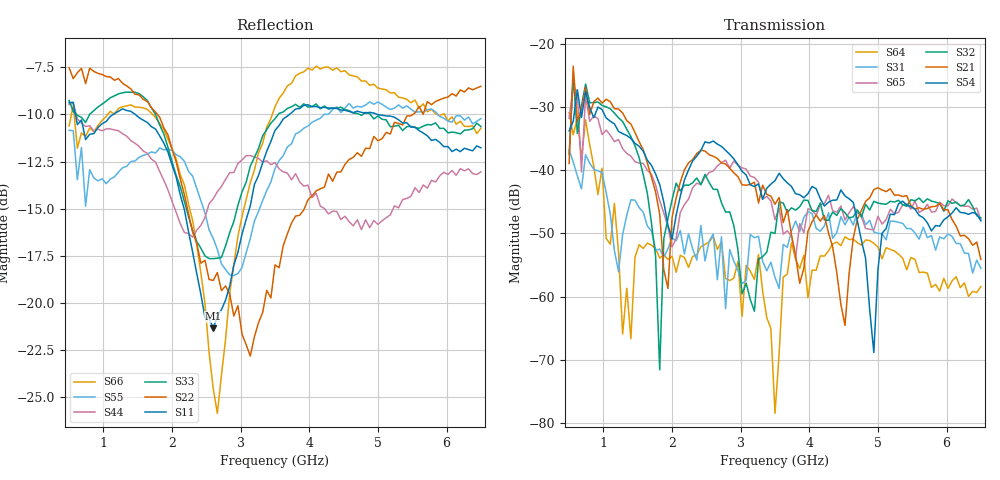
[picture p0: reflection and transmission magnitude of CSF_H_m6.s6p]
!Keysight Technologies,M9804A,MY58100912,A.14.10.03
!Date: Thursday, April 27, 2023 10:28:33
!Correction: S11(C  6-Port  )
!S12(C  6-Port  )
!S13(C  6-Port  )
!S14(C  6-Port  )
!S15(C  6-Port  )
!S16(C  6-Port  )
!S21(C  6-Port  )
!S22(C  6-Port  )
!S23(C  6-Port  )
!S24(C  6-Port  )
!S25(C  6-Port  )
!S26(C  6-Port  )
!S31(C  6-Port  )
!S32(C  6-Port  )
!S33(C  6-Port  )
!S34(C  6-Port  )
!S35(C  6-Port  )
!S36(C  6-Port  )
!S41(C  6-Port  )
!S42(C  6-Port  )
!S43(C  6-Port  )
!S44(C  6-Port  )
!S45(C  6-Port  )
!S46(C  6-Port  )
!S51(C  6-Port  )
!S52(C  6-Port  )
!S53(C  6-Port  )
!S54(C  6-Port  )
!S55(C  6-Port  )
!S56(C  6-Port  )
!S61(C  6-Port  )
!S62(C  6-Port  )
!S63(C  6-Port  )
!S64(C  6-Port  )
!S65(C  6-Port  )
!S66(C  6-Port  )
!S6P File: Measurement: :
# Hz S  RI  R 50
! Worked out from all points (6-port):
!   101 points, 500 MHz to 6.5 GHz, reference 50 ohm
!   strongest paths, dB at 500 MHz, 2 GHz, 3.5 GHz, 5 GHz, 6.5 GHz:
!     S54: -33.8, -50.9, -41.7, -55.7, -48.0
!     S21: -38.9, -47.5, -45.4, -42.8, -54.1
!     S32: -37.5, -44.7, -50.0, -45.2, -47.5
!     S65: -31.8, -52.1, -47.8, -47.3, -47.8
!     S31: -36.7, -50.7, -56.9, -50.0, -55.5
!     S64: -30.9, -53.6, -78.4, -52.2, -58.4
!   lowest |S11| = -21.4 dB at 2.6 GHz (marker M1), VSWR 1.19, Z = 42.4 + j2.29 ohm
!   |S11| at or under -10 dB: 592.7 MHz to 1.141 GHz (548.6 MHz wide, 63.3 % of centre); 1.464 GHz to 3.71 GHz (2.246 GHz wide, 86.8 % of centre); 4.99 GHz to end of sweep
